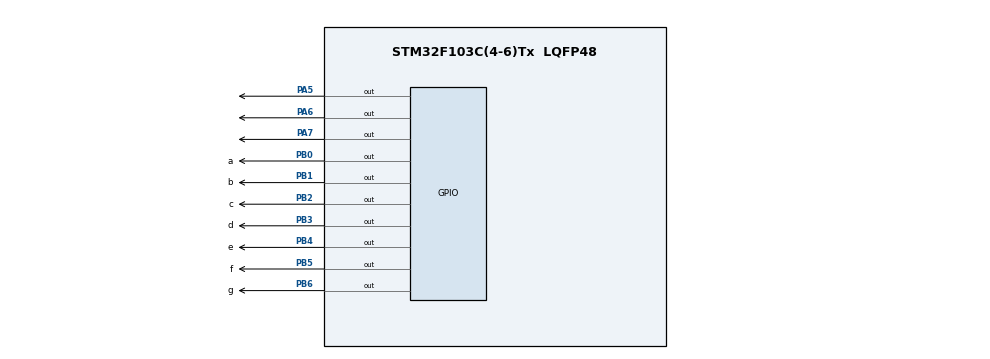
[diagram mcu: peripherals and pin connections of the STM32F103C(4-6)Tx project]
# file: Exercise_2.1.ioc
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Mcu.Family=STM32F1
Mcu.Name=STM32F103C(4-6)Tx
Mcu.Package=LQFP48
NVIC.PriorityGroup=NVIC_PRIORITYGROUP_4
NVIC.TIM2_IRQn=true\:0\:0\:false\:false\:true\:true\:true\:true
PA5.Signal=GPIO_Output
PA6.Signal=GPIO_Output
PA7.Signal=GPIO_Output
PB0.GPIO_Label=a
PB0.Signal=GPIO_Output
PB1.GPIO_Label=b
PB1.Signal=GPIO_Output
PB2.GPIO_Label=c
PB2.Signal=GPIO_Output
PB3.GPIO_Label=d
PB3.Signal=GPIO_Output
PB4.GPIO_Label=e
PB4.Signal=GPIO_Output
PB5.GPIO_Label=f
PB5.Signal=GPIO_Output
PB6.GPIO_Label=g
PB6.Signal=GPIO_Output
ProjectManager.HeapSize=0x200
ProjectManager.StackSize=0x400
ProjectManager.TargetToolchain=STM32CubeIDE
RCC.APB1Freq_Value=8000000
RCC.APB2Freq_Value=8000000
TIM2.Prescaler=7999
VP_SYS_VS_ND.Mode=No_Debug
VP_TIM2_VS_ClockSourceINT.Mode=Internal
board=custom

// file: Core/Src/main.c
/* USER CODE BEGIN Header */
/**
  ******************************************************************************
  * @file           : main.c
  * @brief          : Main program body
  ******************************************************************************
  * @attention
  *
  * Copyright (c) 2025 STMicroelectronics.
  * All rights reserved.
  *
  * This software is licensed under terms that can be found in the LICENSE file
  * in the root directory of this software component.
  * If no LICENSE file comes with this software, it is provided AS-IS.
  *
  ******************************************************************************
  */
/* USER CODE END Header */
#include "main.h"
#include "software_timer.h"

/* USER CODE BEGIN PTD */
void number(int n);
/* USER CODE END PTD */

TIM_HandleTypeDef htim2;

void SystemClock_Config(void);
static void MX_GPIO_Init(void);
static void MX_TIM2_Init(void);

int main(void)
{

  /* MCU Configuration--------------------------------------------------------*/

  /* Reset of all peripherals, Initializes the Flash interface and the Systick. */
  HAL_Init();

  /* Configure the system clock */
  SystemClock_Config();

  /* Initialize all configured peripherals */
  MX_GPIO_Init();
  MX_TIM2_Init();
  /* USER CODE BEGIN 2 */
  HAL_TIM_Base_Start_IT(&htim2);
  /* USER CODE END 2 */

  /* Infinite loop */
  /* USER CODE BEGIN WHILE */
  int status = 1;
  setTimer1(100);
  setTimer2(50);
  while (1)
  {
	  if(timer1_flag == 1){
		  setTimer1(100);
		  HAL_GPIO_TogglePin(GPIOA, GPIO_PIN_5);
	  }
	  if(timer2_flag == 1){
		  setTimer2(50);
		  if(status == 1){
			  HAL_GPIO_WritePin(GPIOA, GPIO_PIN_7, SET);
			  HAL_GPIO_WritePin(GPIOA, GPIO_PIN_6, RESET);
			  number(1);
			  status = 2;
		  }
		  else{
			  HAL_GPIO_WritePin(GPIOA, GPIO_PIN_6, SET);
			  HAL_GPIO_WritePin(GPIOA, GPIO_PIN_7, RESET);
			  number(2);
			  status = 1;
		  }
	  }
    /* USER CODE END WHILE */

  }
}

void SystemClock_Config(void)
{
  RCC_OscInitTypeDef RCC_OscInitStruct = {0};
  RCC_ClkInitTypeDef RCC_ClkInitStruct = {0};

  /** Initializes the RCC Oscillators according to the specified parameters
  * in the RCC_OscInitTypeDef structure.
  */
  RCC_OscInitStruct.OscillatorType = RCC_OSCILLATORTYPE_HSI;
  RCC_OscInitStruct.HSIState = RCC_HSI_ON;
  RCC_OscInitStruct.HSICalibrationValue = RCC_HSICALIBRATION_DEFAULT;
  RCC_OscInitStruct.PLL.PLLState = RCC_PLL_NONE;
  if (HAL_RCC_OscConfig(&RCC_OscInitStruct) != HAL_OK)
  {
    Error_Handler();
  }

  /** Initializes the CPU, AHB and APB buses clocks
  */
  RCC_ClkInitStruct.ClockType = RCC_CLOCKTYPE_HCLK|RCC_CLOCKTYPE_SYSCLK
                              |RCC_CLOCKTYPE_PCLK1|RCC_CLOCKTYPE_PCLK2;
  RCC_ClkInitStruct.SYSCLKSource = RCC_SYSCLKSOURCE_HSI;
  RCC_ClkInitStruct.AHBCLKDivider = RCC_SYSCLK_DIV1;
  RCC_ClkInitStruct.APB1CLKDivider = RCC_HCLK_DIV1;
  RCC_ClkInitStruct.APB2CLKDivider = RCC_HCLK_DIV1;

  if (HAL_RCC_ClockConfig(&RCC_ClkInitStruct, FLASH_LATENCY_0) != HAL_OK)
  {
    Error_Handler();
  }
}

static void MX_TIM2_Init(void)
{

  TIM_ClockConfigTypeDef sClockSourceConfig = {0};
  TIM_MasterConfigTypeDef sMasterConfig = {0};

  htim2.Instance = TIM2;
  htim2.Init.Prescaler = 7999;
  htim2.Init.CounterMode = TIM_COUNTERMODE_UP;
  htim2.Init.Period = 9;
  htim2.Init.ClockDivision = TIM_CLOCKDIVISION_DIV1;
  htim2.Init.AutoReloadPreload = TIM_AUTORELOAD_PRELOAD_DISABLE;
  if (HAL_TIM_Base_Init(&htim2) != HAL_OK)
  {
    Error_Handler();
  }
  sClockSourceConfig.ClockSource = TIM_CLOCKSOURCE_INTERNAL;
  if (HAL_TIM_ConfigClockSource(&htim2, &sClockSourceConfig) != HAL_OK)
  {
    Error_Handler();
  }
  sMasterConfig.MasterOutputTrigger = TIM_TRGO_RESET;
  sMasterConfig.MasterSlaveMode = TIM_MASTERSLAVEMODE_DISABLE;
  if (HAL_TIMEx_MasterConfigSynchronization(&htim2, &sMasterConfig) != HAL_OK)
  {
    Error_Handler();
  }

}

static void MX_GPIO_Init(void)
{
  GPIO_InitTypeDef GPIO_InitStruct = {0};

  /* GPIO Ports Clock Enable */
  __HAL_RCC_GPIOA_CLK_ENABLE();
  __HAL_RCC_GPIOB_CLK_ENABLE();

  /*Configure GPIO pin Output Level */
  HAL_GPIO_WritePin(GPIOA, GPIO_PIN_5|GPIO_PIN_6|GPIO_PIN_7, GPIO_PIN_SET);

  /*Configure GPIO pin Output Level */
  HAL_GPIO_WritePin(GPIOB, a_Pin|b_Pin|c_Pin|d_Pin
                          |e_Pin|f_Pin|g_Pin, GPIO_PIN_SET);

  /*Configure GPIO pins : PA5 PA6 PA7 */
  GPIO_InitStruct.Pin = GPIO_PIN_5|GPIO_PIN_6|GPIO_PIN_7;
  GPIO_InitStruct.Mode = GPIO_MODE_OUTPUT_PP;
  GPIO_InitStruct.Pull = GPIO_NOPULL;
  GPIO_InitStruct.Speed = GPIO_SPEED_FREQ_LOW;
  HAL_GPIO_Init(GPIOA, &GPIO_InitStruct);

  /*Configure GPIO pins : a_Pin b_Pin c_Pin d_Pin
                           e_Pin f_Pin g_Pin */
  GPIO_InitStruct.Pin = a_Pin|b_Pin|c_Pin|d_Pin
                          |e_Pin|f_Pin|g_Pin;
  GPIO_InitStruct.Mode = GPIO_MODE_OUTPUT_PP;
  GPIO_InitStruct.Pull = GPIO_NOPULL;
  GPIO_InitStruct.Speed = GPIO_SPEED_FREQ_LOW;
  HAL_GPIO_Init(GPIOB, &GPIO_InitStruct);

}

/* USER CODE BEGIN 4 */
void number(int n){
	switch (n){
		case 0:
			HAL_GPIO_WritePin(GPIOB, a_Pin|b_Pin|c_Pin|d_Pin|e_Pin|f_Pin, RESET);
			HAL_GPIO_WritePin(GPIOB, g_Pin, SET);
			break;
		case 1:
			HAL_GPIO_WritePin(GPIOB, b_Pin|c_Pin, RESET);
			HAL_GPIO_WritePin(GPIOB, a_Pin|g_Pin|d_Pin|e_Pin|f_Pin, SET);
			break;
		case 2:
			HAL_GPIO_WritePin(GPIOB, a_Pin|b_Pin|g_Pin|d_Pin|e_Pin, RESET);
			HAL_GPIO_WritePin(GPIOB, c_Pin|f_Pin, SET);
			break;
		case 3:
			HAL_GPIO_WritePin(GPIOB, a_Pin|b_Pin|g_Pin|c_Pin|d_Pin, RESET);
			HAL_GPIO_WritePin(GPIOB, e_Pin|f_Pin, SET);
			break;
		case 4:
			HAL_GPIO_WritePin(GPIOB, b_Pin|c_Pin|f_Pin|g_Pin, RESET);
			HAL_GPIO_WritePin(GPIOB, a_Pin|d_Pin|e_Pin, SET);
			break;
		case 5:
			HAL_GPIO_WritePin(GPIOB, a_Pin|f_Pin|g_Pin|c_Pin|d_Pin, RESET);
			HAL_GPIO_WritePin(GPIOB, e_Pin|b_Pin, SET);
			break;
		case 6:
		    HAL_GPIO_WritePin(GPIOB, a_Pin|f_Pin|e_Pin|d_Pin|c_Pin|g_Pin, RESET);
		    HAL_GPIO_WritePin(GPIOB, b_Pin, SET);
		    break;
		case 7:
		    HAL_GPIO_WritePin(GPIOB, a_Pin|b_Pin|c_Pin, RESET);
		    HAL_GPIO_WritePin(GPIOB, d_Pin|e_Pin|f_Pin|g_Pin, SET);
		    break;
		case 8:
		    HAL_GPIO_WritePin(GPIOB, a_Pin|b_Pin|c_Pin|d_Pin|e_Pin|f_Pin|g_Pin, RESET);
		    break;
		case 9:
		    HAL_GPIO_WritePin(GPIOB, a_Pin|b_Pin|c_Pin|d_Pin|f_Pin|g_Pin, RESET);
		    HAL_GPIO_WritePin(GPIOB, e_Pin, SET);
		    break;
		default:
			HAL_GPIO_WritePin(GPIOB, a_Pin|b_Pin|c_Pin|d_Pin|e_Pin|f_Pin|g_Pin, SET);
	}
}

void HAL_TIM_PeriodElapsedCallback( TIM_HandleTypeDef *htim){
	timeRun();
}
/* USER CODE END 4 */

void Error_Handler(void)
{
  __disable_irq();
  while (1)
  {
  }
}
